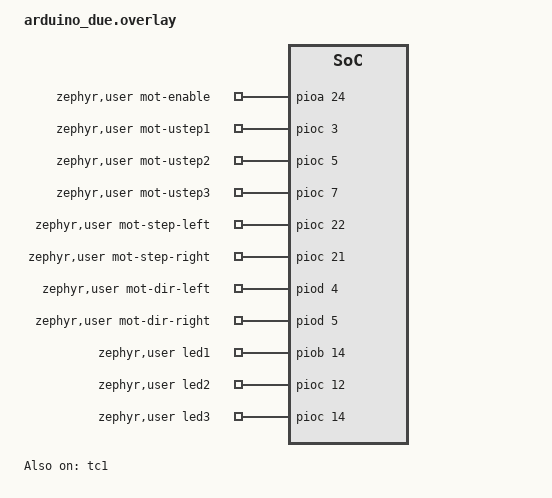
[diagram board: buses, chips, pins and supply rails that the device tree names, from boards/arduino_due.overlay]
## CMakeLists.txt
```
# Copyright (c) 2023, Henrik Söderlund

# SPDX-License-Identifier: Apache-2.0

cmake_minimum_required(VERSION 3.20.0)

find_package(Zephyr REQUIRED HINTS $ENV{ZEPHYR_BASE})
project(hello_world)

target_include_directories(app PRIVATE include/)

FILE(GLOB app_sources src/**/**/*.cpp)

option(TESTS "Run tests in test/" OFF)

if(TESTS)
    target_sources(app PRIVATE test/main.cpp)

    # add here all class files for productive code
    target_sources(app PRIVATE ${app_sources})

else()
    target_sources(app PRIVATE src/main.cpp)

    # add here all class files for productive code
    target_sources(app PRIVATE ${app_sources})
endif()
unset(TESTS CACHE)
```

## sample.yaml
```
# Copyright (c) 2023, Henrik Söderlund

sample:
  description: Hello World sample, the simplest Zephyr
    application
  name: hello world
common:
  tags: introduction
  integration_platforms:
    - native_posix
  harness: console
  harness_config:
    type: one_line
    regex:
      - "Hello World! (.*)"
tests:
  sample.basic.helloworld:
    tags: introduction
```

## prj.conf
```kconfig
CONFIG_CPP=y
CONFIG_NEWLIB_LIBC=y
CONFIG_STD_CPP17=y
CONFIG_REQUIRES_FULL_LIBCPP=y

# Board specific
CONFIG_PINCTRL=y
CONFIG_GPIO=y
CONFIG_COUNTER=y

# Only activate when testing
CONFIG_ZTEST=n
```

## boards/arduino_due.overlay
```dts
/*
 * Copyright (c) 2023 Henrik Söderlund
 */

/ {
     zephyr,user {
        mot-enable-gpios = <&pioa 24 0x00>;
        mot-ustep1-gpios = <&pioc 3 0x00>;
        mot-ustep2-gpios = <&pioc 5 0x00>;
        mot-ustep3-gpios = <&pioc 7 0x00>;

        mot-step-left-gpios = <&pioc 22 0x00>;
        mot-step-right-gpios = <&pioc 21 0x00>;
        mot-dir-left-gpios = <&piod 4 0x00>;
        mot-dir-right-gpios = <&piod 5 0x00>;

        led1-gpios = <&piob 14 0x00>;
        led2-gpios = <&pioc 12 0x00>;
        led3-gpios = <&pioc 14 0x00>;
     };
};

&tc1 {
        clk = <3>;
        status = "okay";
};
```

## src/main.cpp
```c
/*
 * Copyright (c) 2012-2014 Wind River Systems, Inc.
 *
 * SPDX-License-Identifier: Apache-2.0
 */

#include <zephyr/kernel.h>
#include <zephyr/drivers/gpio.h>
#include <zephyr/drivers/pinctrl.h>

#include "common/robot_constants.h"
#include "drivers/stepper_controller.h"
#include "service_agents/stepper_agent.h"

/* 1000 msec = 1 sec */
#define SLEEP_TIME_MS   1000

/* The devicetree node identifier for the "led0" alias. */
#define LED0_NODE DT_ALIAS(led0)

struct Test {
  int   test;
  float test2;
  bool  ok;
};

/*
 * A build error on this line means your board is unsupported.
 * See the sample documentation for information on how to fix this.
 */
constexpr struct gpio_dt_spec led = GPIO_DT_SPEC_GET(LED0_NODE, gpios);

int main(void) {
  using robot::driver::stepper::StepperController;
  using robot::agent::stepper::StepperAgent;

  int ret;

  std::unique_ptr<StepperController> stepper_controller_left =
    StepperController::create("StepperControllerLeft",
                              robot::constants::kRobotStepperSpec,
                              robot::constants::kRobotStepperControlLeftSpec);

  std::unique_ptr<StepperController> stepper_controller_right =
    StepperController::create("StepperControllerRight",
                              robot::constants::kRobotStepperSpec,
                              robot::constants::kRobotStepperControlRightSpec);

  std::unique_ptr<StepperAgent> stepper_agent =
    StepperAgent::create("StepperAgent",
                         robot::constants::kRobotStepperSpec,
                         *stepper_controller_left,
                         *stepper_controller_right);

  gpio_pin_configure_dt(&robot::constants::kLEDSpec.led1_gpio, GPIO_OUTPUT_ACTIVE);

  stepper_agent->setMicroStep(8);
  printk("Micro Step is %d\n", stepper_agent->getMicroStep());

  if (!gpio_is_ready_dt(&led)) {
    return 0;
  }

  ret = gpio_pin_configure_dt(&led, GPIO_OUTPUT_ACTIVE);

  if (ret < 0) {
    return 0;
  }

  while (1) {
    printk("Hello World! %s\n", CONFIG_BOARD);

    // printk("Micro Step is %d\n", stepper_agent.getMicroStep());
    ret = gpio_pin_toggle_dt(&led);

    gpio_pin_toggle_dt(&robot::constants::kLEDSpec.led1_gpio);

    if (ret < 0) {
      return 0;
    }
    k_msleep(SLEEP_TIME_MS);
  }

  return 0;
}
```
